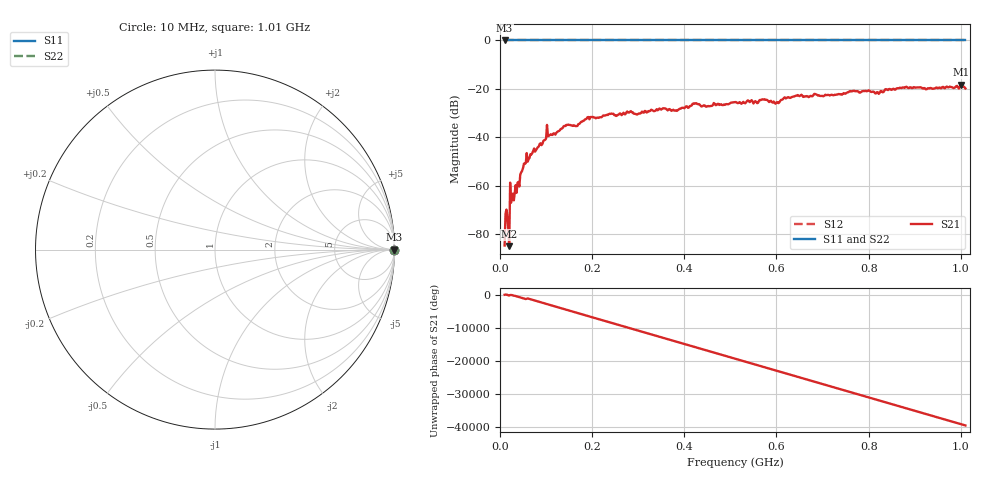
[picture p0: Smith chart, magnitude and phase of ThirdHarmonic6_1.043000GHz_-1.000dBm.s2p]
! 8/16/2025 9:05:57 AM
! C:\ANRITSUVNA\TEMP\TEMP.S2P
! CHANNEL.1
! TR.MEASUREMENT
! RAW.DATA
! RF.CORRECTION.OFF
! AVERAGING.OFF
! IF.BANDWIDTH: 5KHZ
! SWEEPTYPE:  FREQ.SWEEP(Linear)
! Reference Plane Port Info
! PORT:  PORT1  PORT2
! DISTANCE:  0  m  0  m
! TIME:  0  s  0  s
! PHASE.OFFSET:  0  deg.  0  deg.
! LOSS:  0  dB  0  dB
! REF.LOSS:  0  dB  0  dB
! REF.FREQ:  0  Hz  0  Hz
! Power Info
! POWER:  -20  dBm  -20  dBm
! EFF.POWER:  -20  dBm  -20  dBm
! SOURCE.ATTEN:  0  dB  0  dB
! TEST.ATTEN:  0  dB  0  dB
# GHZ S RI R 50.0
! FREQ.GHZ  S11RE  S11IM  S21RE  S21IM  S12RE  S12IM  S22RE  S22IM
!; PortSelection: Port_12
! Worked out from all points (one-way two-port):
!   501 points, 10 MHz to 1.01 GHz, reference 50 ohm
!   highest |S21| = -18.23 dB at 1 GHz (marker M1); lowest = -84.9 dB at 20 MHz (marker M2)
!   lowest |S11| = 0.0 dB at 10 MHz (marker M3)
!   |S11| at or under -10 dB: nowhere
!   |S22| runs from 0.0 to 0.0 dB; largest |S21 - S12| = 1.1
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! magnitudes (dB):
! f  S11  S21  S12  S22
! 10 MHz  0.0  -84.6  0.0  0.0
! 20 MHz  0.0  -84.9  0.0  0.0
! 26 MHz  0.0  -63.9  0.0  0.0
! 28 MHz  0.0  -63.2  0.0  0.0
! 34 MHz  0.0  -59.7  0.0  0.0
! 54 MHz  0.0  -50.9  0.0  0.0
! 70 MHz  0.0  -46.5  0.0  0.0
! 106 MHz  0.0  -39.3  0.0  0.0
! 178 MHz  0.0  -33.5  0.0  0.0
! 240 MHz  0.0  -30.3  0.0  0.0
! 344 MHz  0.0  -28.5  0.0  0.0
! 382 MHz  0.0  -28.8  0.0  0.0
! 422 MHz  0.0  -26.1  0.0  0.0
! 450 MHz  0.0  -27.1  0.0  0.0
! 510 MHz  0.0  -25.4  0.0  0.0
! 572 MHz  0.0  -24.4  0.0  0.0
! 600 MHz  0.0  -25.6  0.0  0.0
! 620 MHz  0.0  -23.9  0.0  0.0
! 678 MHz  0.0  -23.1  0.0  0.0
! 844 MHz  0.0  -20.1  0.0  0.0
! 1 GHz  0.0  -18.2  0.0  0.0
! 1.01 GHz  0.0  -19.8  0.0  0.0
